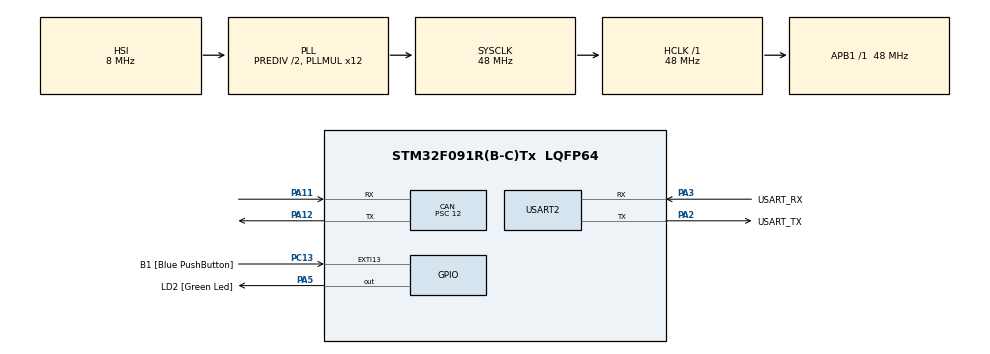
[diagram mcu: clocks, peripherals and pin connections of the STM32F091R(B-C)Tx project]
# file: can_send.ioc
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CAN.AWUM=ENABLE
CAN.BS1=CAN_BS1_8TQ
CAN.BS2=CAN_BS2_2TQ
CAN.CalculateBaudRate=363636
CAN.CalculateTimeBit=2750
CAN.CalculateTimeQuantum=250.0
CAN.Prescaler=12
Mcu.Family=STM32F0
Mcu.Name=STM32F091R(B-C)Tx
Mcu.Package=LQFP64
NVIC.CEC_CAN_IRQn=true\:0\:0\:false\:false\:true\:true\:true
PA11.Mode=CAN_Activate
PA11.Signal=CAN_RX
PA12.Mode=CAN_Activate
PA12.Signal=CAN_TX
PA13.GPIO_Label=TMS
PA13.Mode=Serial_Wire
PA13.Signal=SYS_SWDIO
PA14.GPIO_Label=TCK
PA14.Mode=Serial_Wire
PA14.Signal=SYS_SWCLK
PA2.GPIO_Label=USART_TX
PA2.GPIO_Mode=GPIO_MODE_AF_PP
PA2.GPIO_PuPd=GPIO_NOPULL
PA2.GPIO_Speed=GPIO_SPEED_FREQ_LOW
PA2.Mode=Asynchronous
PA2.Signal=USART2_TX
PA3.GPIO_Label=USART_RX
PA3.GPIO_Mode=GPIO_MODE_AF_PP
PA3.GPIO_PuPd=GPIO_NOPULL
PA3.GPIO_Speed=GPIO_SPEED_FREQ_LOW
PA3.Mode=Asynchronous
PA3.Signal=USART2_RX
PA5.GPIO_Label=LD2 [Green Led]
PA5.GPIO_Mode=GPIO_MODE_OUTPUT_PP
PA5.GPIO_PuPd=GPIO_NOPULL
PA5.GPIO_Speed=GPIO_SPEED_FREQ_LOW
PA5.Signal=GPIO_Output
PC13.GPIO_Label=B1 [Blue PushButton]
PC13.GPIO_ModeDefaultEXTI=GPIO_MODE_IT_FALLING
PC13.Signal=GPXTI13
PC14OSC32_IN.Signal=RCC_OSC32_IN
PC15OSC32_OUT.Signal=RCC_OSC32_OUT
PF0-OSC_IN.Mode=HSE-External-Oscillator
PF0-OSC_IN.Signal=RCC_OSC_IN
PF1-OSC_OUT.Mode=HSE-External-Oscillator
PF1-OSC_OUT.Signal=RCC_OSC_OUT
ProjectManager.HeapSize=0x200
ProjectManager.StackSize=0x400
ProjectManager.TargetToolchain=STM32CubeIDE
RCC.AHBFreq_Value=48000000
RCC.APB1Freq_Value=48000000
RCC.APB1TimFreq_Value=48000000
RCC.FLatency-AdvancedSettings=FLASH_LATENCY_1
RCC.HCLKFreq_Value=48000000
RCC.PLLDivider=RCC_PREDIV_DIV2
RCC.PLLMUL=RCC_PLL_MUL12
RCC.PREFETCH_ENABLE-AdvancedSettings=1
RCC.SYSCLKFreq_VALUE=48000000
RCC.SYSCLKSource=RCC_SYSCLKSOURCE_PLLCLK
USART2.VirtualMode-Asynchronous=VM_ASYNC
board=NUCLEO-F091RC

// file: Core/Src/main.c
/* USER CODE BEGIN Header */
/**
 ******************************************************************************
 * @file           : main.c
 * @brief          : Main program body
 * @author 		: Theo RUSINOWITCH <teo.rusi@hotmail.fr>
 ******************************************************************************
 * @attention
 *
 * <h2><center>&copy; Copyright (c) 2021 STMicroelectronics.
 * All rights reserved.</center></h2>
 *
 * This software component is licensed by ST under BSD 3-Clause license,
 * the "License"; You may not use this file except in compliance with the
 * License. You may obtain a copy of the License at:
 *                        opensource.org/licenses/BSD-3-Clause
 *
 ******************************************************************************
 */
/* USER CODE END Header */
#include "main.h"

CAN_HandleTypeDef hcan;

UART_HandleTypeDef huart2;

/* USER CODE BEGIN PV */
CAN_TxHeaderTypeDef TxHeader;
/* USER CODE END PV */

void SystemClock_Config(void);
static void MX_GPIO_Init(void);
static void MX_USART2_UART_Init(void);
static void MX_CAN_Init(void);
/* USER CODE BEGIN PFP */

void HAL_CAN_RxFifo0MsgPendingCallback(CAN_HandleTypeDef *hcan);
/* USER CODE END PFP */

/* USER CODE BEGIN 0 */
void HAL_CAN_RxFifo0MsgPendingCallback(CAN_HandleTypeDef *hcan) {

	//	On récupère le message et on stock les valeurs dans RxData
	uint8_t RxData[8];
	CAN_RxHeaderTypeDef RxHeader;
	HAL_CAN_GetRxMessage(hcan, CAN_RX_FIFO0, &RxHeader, RxData);

	//renvoi un msg sur le bus can
	uint8_t data[3] = {RxData[0],RxData[1],0x11};
	send_can(0x123, data, 3);
}

/* USER CODE END 0 */

int main(void) {

	/* MCU Configuration--------------------------------------------------------*/

	/* Reset of all peripherals, Initializes the Flash interface and the Systick. */
	HAL_Init();

	/* Configure the system clock */
	SystemClock_Config();

	/* Initialize all configured peripherals */
	MX_GPIO_Init();
	MX_USART2_UART_Init();
	MX_CAN_Init();
	/* USER CODE BEGIN 2 */
	CAN_Config(hcan, 0x222);

	char *msg = "\n\r\n\rHello Nucleo Fun!\n\r";
	HAL_UART_Transmit(&huart2, (uint8_t*) msg, sizeof(msg), 1000);
	HAL_GPIO_WritePin(GPIOA, GPIO_PIN_5, 1);
	HAL_Delay(1500);
	HAL_GPIO_WritePin(GPIOA, GPIO_PIN_5, 0);   // LED on PA5 OFF
	HAL_Delay(500);
	/* USER CODE END 2 */

	/* Infinite loop */
	/* USER CODE BEGIN WHILE */
	send_one(0x123, 0x32);
	while (1) {
		HAL_Delay(1500);
		HAL_GPIO_WritePin(GPIOA, GPIO_PIN_5, 0);   // LED on PA5 OFF
		HAL_Delay(500);
		HAL_GPIO_WritePin(GPIOA, GPIO_PIN_5, 1);
		/* USER CODE END WHILE */

	}
}

void SystemClock_Config(void) {
	RCC_OscInitTypeDef RCC_OscInitStruct = { 0 };
	RCC_ClkInitTypeDef RCC_ClkInitStruct = { 0 };
	RCC_PeriphCLKInitTypeDef PeriphClkInit = { 0 };

	/** Initializes the RCC Oscillators according to the specified parameters
	 * in the RCC_OscInitTypeDef structure.
	 */
	RCC_OscInitStruct.OscillatorType = RCC_OSCILLATORTYPE_HSI;
	RCC_OscInitStruct.HSIState = RCC_HSI_ON;
	RCC_OscInitStruct.HSICalibrationValue = RCC_HSICALIBRATION_DEFAULT;
	RCC_OscInitStruct.PLL.PLLState = RCC_PLL_ON;
	RCC_OscInitStruct.PLL.PLLSource = RCC_PLLSOURCE_HSI;
	RCC_OscInitStruct.PLL.PLLMUL = RCC_PLL_MUL12;
	RCC_OscInitStruct.PLL.PREDIV = RCC_PREDIV_DIV2;
	if (HAL_RCC_OscConfig(&RCC_OscInitStruct) != HAL_OK) {
		Error_Handler();
	}
	/** Initializes the CPU, AHB and APB buses clocks
	 */
	RCC_ClkInitStruct.ClockType = RCC_CLOCKTYPE_HCLK | RCC_CLOCKTYPE_SYSCLK
			| RCC_CLOCKTYPE_PCLK1;
	RCC_ClkInitStruct.SYSCLKSource = RCC_SYSCLKSOURCE_PLLCLK;
	RCC_ClkInitStruct.AHBCLKDivider = RCC_SYSCLK_DIV1;
	RCC_ClkInitStruct.APB1CLKDivider = RCC_HCLK_DIV1;

	if (HAL_RCC_ClockConfig(&RCC_ClkInitStruct, FLASH_LATENCY_1) != HAL_OK) {
		Error_Handler();
	}
	PeriphClkInit.PeriphClockSelection = RCC_PERIPHCLK_USART2;
	PeriphClkInit.Usart2ClockSelection = RCC_USART2CLKSOURCE_PCLK1;
	if (HAL_RCCEx_PeriphCLKConfig(&PeriphClkInit) != HAL_OK) {
		Error_Handler();
	}
}

static void MX_CAN_Init(void) {

	hcan.Instance = CAN;
	hcan.Init.Prescaler = 12;
	hcan.Init.Mode = CAN_MODE_NORMAL;
	hcan.Init.SyncJumpWidth = CAN_SJW_1TQ;
	hcan.Init.TimeSeg1 = CAN_BS1_8TQ;
	hcan.Init.TimeSeg2 = CAN_BS2_2TQ;
	hcan.Init.TimeTriggeredMode = DISABLE;
	hcan.Init.AutoBusOff = DISABLE;
	hcan.Init.AutoWakeUp = ENABLE;
	hcan.Init.AutoRetransmission = DISABLE;
	hcan.Init.ReceiveFifoLocked = DISABLE;
	hcan.Init.TransmitFifoPriority = DISABLE;
	if (HAL_CAN_Init(&hcan) != HAL_OK) {
		Error_Handler();
	}

}

static void MX_USART2_UART_Init(void) {

	huart2.Instance = USART2;
	huart2.Init.BaudRate = 115200;
	huart2.Init.WordLength = UART_WORDLENGTH_8B;
	huart2.Init.StopBits = UART_STOPBITS_1;
	huart2.Init.Parity = UART_PARITY_NONE;
	huart2.Init.Mode = UART_MODE_TX_RX;
	huart2.Init.HwFlowCtl = UART_HWCONTROL_NONE;
	huart2.Init.OverSampling = UART_OVERSAMPLING_16;
	huart2.Init.OneBitSampling = UART_ONE_BIT_SAMPLE_DISABLE;
	huart2.AdvancedInit.AdvFeatureInit = UART_ADVFEATURE_NO_INIT;
	if (HAL_UART_Init(&huart2) != HAL_OK) {
		Error_Handler();
	}

}

static void MX_GPIO_Init(void) {
	GPIO_InitTypeDef GPIO_InitStruct = { 0 };

	/* GPIO Ports Clock Enable */
	__HAL_RCC_GPIOC_CLK_ENABLE();
	__HAL_RCC_GPIOF_CLK_ENABLE();
	__HAL_RCC_GPIOA_CLK_ENABLE();

	/*Configure GPIO pin Output Level */
	HAL_GPIO_WritePin(LD2_GPIO_Port, LD2_Pin, GPIO_PIN_RESET);

	/*Configure GPIO pin : B1_Pin */
	GPIO_InitStruct.Pin = B1_Pin;
	GPIO_InitStruct.Mode = GPIO_MODE_IT_FALLING;
	GPIO_InitStruct.Pull = GPIO_NOPULL;
	HAL_GPIO_Init(B1_GPIO_Port, &GPIO_InitStruct);

	/*Configure GPIO pin : LD2_Pin */
	GPIO_InitStruct.Pin = LD2_Pin;
	GPIO_InitStruct.Mode = GPIO_MODE_OUTPUT_PP;
	GPIO_InitStruct.Pull = GPIO_NOPULL;
	GPIO_InitStruct.Speed = GPIO_SPEED_FREQ_LOW;
	HAL_GPIO_Init(LD2_GPIO_Port, &GPIO_InitStruct);

}

void Error_Handler(void) {
	__disable_irq();
	while (1) {
	}
}
